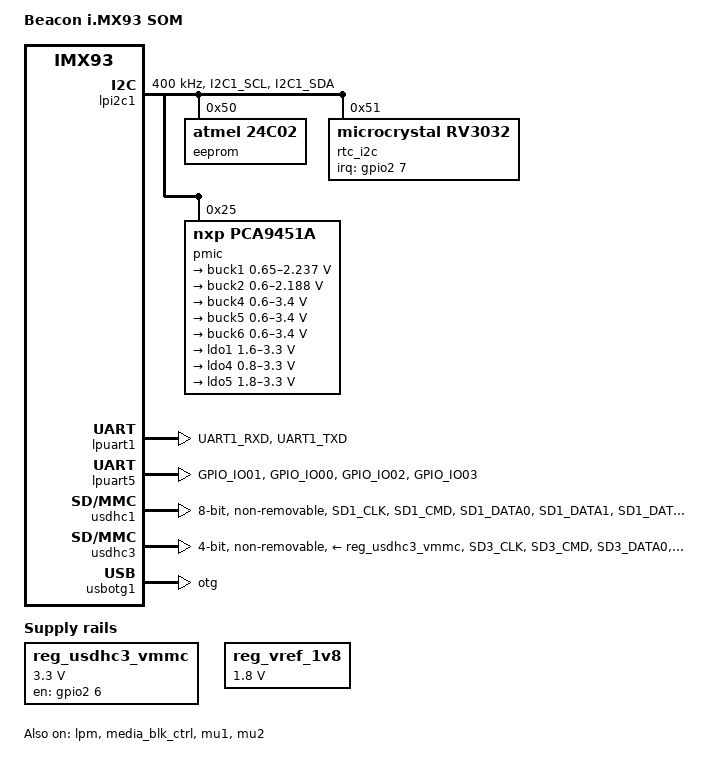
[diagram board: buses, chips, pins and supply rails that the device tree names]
// SPDX-License-Identifier: (GPL-2.0+ OR MIT)
/*
 * Copyright 2022 NXP
 */

 /dts-v1/;

 #include <dt-bindings/usb/pd.h>
 #include "imx93.dtsi"
 
 
 &ele_fw2 {
	 memory-region = <&ele_reserved>;
 };
 
 / {
	 model = "Beacon i.MX93 SOM";
	 compatible = "beacon,imx93-beacon-kit", "fsl,imx93";

	 chosen {
		bootargs = "console=ttyLP0,115200";
		stdout-path = &lpuart1;
	};

	reserved-memory {
		#address-cells = <2>;
		#size-cells = <2>;
		ranges;

		linux,cma {
		   compatible = "shared-dma-pool";
		   reusable;
		   alloc-ranges = <0 0xb0000000 0 0x30000000>;
		   size = <0 0xc000000>;
		   linux,cma-default;
	   };

/* 		 
	   ethosu_mem: ethosu_region@C0000000 {
			compatible = "shared-dma-pool";
			reusable;
			reg = <0x0 0xC0000000 0x0 0x10000000>;
		};
*/

		 vdev0vring0: vdev0vring0@a4000000 {
			reg = <0 0xa4000000 0 0x8000>;
			no-map;
		};

		vdev0vring1: vdev0vring1@a4008000 {
			reg = <0 0xa4008000 0 0x8000>;
			no-map;
		};

		vdev1vring0: vdev1vring0@a4000000 {
			reg = <0 0xa4010000 0 0x8000>;
			no-map;
		};

		vdev1vring1: vdev1vring1@a4018000 {
			reg = <0 0xa4018000 0 0x8000>;
			no-map;
		};

	   rsc_table: rsc-table@2021e000 {
			reg = <0 0x2021e000 0 0x1000>;
			no-map;
		};

		vdevbuffer: vdevbuffer@a4020000 {
			compatible = "shared-dma-pool";
			reg = <0 0xa4020000 0 0x100000>;
			no-map;
		};

		ele_reserved: ele-reserved@a4120000 {
			compatible = "shared-dma-pool";
			reg = <0 0xa4120000 0 0x100000>;
			no-map;
		};
	};
/*
	 usdhc3_pwrseq: usdhc3_pwrseq {
		pinctrl-names = "default";
		pinctrl-0 = <&pinctrl_wifi_rst>;
		compatible = "mmc-pwrseq-simple";
		reset-gpios = <&gpio2 4 GPIO_ACTIVE_HIGH>,		// WL_RST 
					  <&gpio2 5 GPIO_ACTIVE_HIGH>;   	// BT_RST 
	};
*/	

	reg_usdhc3_vmmc: regulator-usdhc3 {
		pinctrl-names = "default";
		pinctrl-0 = <&pinctrl_wifi_reg>;		
		compatible = "regulator-fixed";
		regulator-name = "WL_REG_ON";
		regulator-min-microvolt = <3300000>;
		regulator-max-microvolt = <3300000>;
		gpio = <&gpio2 6 GPIO_ACTIVE_HIGH>; /* WL_REG_ON connects to PDn signal on IW612 */
		/*
		 * IW612 wifi chip needs more delay than other wifi chips to complete
		 * the host interface initialization after power up, otherwise the
		 * internal state of IW612 may be unstable, resulting in the failure of
		 * the SDIO3.0 switch voltage.
		 */
		startup-delay-us = <20000>;
		enable-active-high;
	};

	reg_vref_1v8: regulator-adc-vref {
		compatible = "regulator-fixed";
		regulator-name = "vref_1v8";
		regulator-min-microvolt = <1800000>;
		regulator-max-microvolt = <1800000>;
	};	
 };
	 
 
 &lpm {
	 soc-supply = <&buck1>;
	 status = "okay";
 };
 

 &lpi2c1 {
	#address-cells = <1>;
	#size-cells = <0>;
	clock-frequency = <400000>;
	pinctrl-names = "default", "sleep";
	pinctrl-0 = <&pinctrl_lpi2c1>;
	pinctrl-1 = <&pinctrl_lpi2c1>;
	status = "okay";

	/* eeprom on som */
	eeprom@50 {
		compatible = "atmel,24c02";
		reg = <0x50>;
		pagesize = <16>;		
	};

	rtc_i2c: rtc@51 {
		compatible = "microcrystal,rv3032";
		reg = <0x51>;
		interrupts = <7 IRQ_TYPE_LEVEL_LOW>;
		interrupt-parent = <&gpio2>;
		pinctrl-names = "default";
		pinctrl-0 = <&pinctrl_rtc>;
	};

	pmic@25 {
		compatible = "nxp,pca9451a";
		reg = <0x25>;

		regulators {
			buck1: BUCK1 {
				regulator-name = "BUCK1";
				regulator-min-microvolt = <650000>;
				regulator-max-microvolt = <2237500>;
				regulator-boot-on;
				regulator-always-on;
				regulator-ramp-delay = <3125>;
			};

			buck2: BUCK2 {
				regulator-name = "BUCK2";
				regulator-min-microvolt = <600000>;
				regulator-max-microvolt = <2187500>;
				regulator-boot-on;
				regulator-always-on;
				regulator-ramp-delay = <3125>;
			};

			buck4: BUCK4{
				regulator-name = "BUCK4";
				regulator-min-microvolt = <600000>;
				regulator-max-microvolt = <3400000>;
				regulator-boot-on;
				regulator-always-on;
			};

			buck5: BUCK5{
				regulator-name = "BUCK5";
				regulator-min-microvolt = <600000>;
				regulator-max-microvolt = <3400000>;
				regulator-boot-on;
				regulator-always-on;
			};

			buck6: BUCK6 {
				regulator-name = "BUCK6";
				regulator-min-microvolt = <600000>;
				regulator-max-microvolt = <3400000>;
				regulator-boot-on;
				regulator-always-on;
			};

			ldo1: LDO1 {
				regulator-name = "LDO1";
				regulator-min-microvolt = <1600000>;
				regulator-max-microvolt = <3300000>;
				regulator-boot-on;
				regulator-always-on;
			};

			ldo4: LDO4 {
				regulator-name = "LDO4";
				regulator-min-microvolt = <800000>;
				regulator-max-microvolt = <3300000>;
				regulator-boot-on;
				regulator-always-on;
			};

			ldo5: LDO5 {
				regulator-name = "LDO5";
				regulator-min-microvolt = <1800000>;
				regulator-max-microvolt = <3300000>;
				regulator-boot-on;
				regulator-always-on;
			};
		};
	};
 };
 
 
 &lpuart1 { /* console */
	 pinctrl-names = "default";
	 pinctrl-0 = <&pinctrl_uart1>;
	 status = "okay";
 };

 &lpuart5 { /* bluetooth */
	pinctrl-names = "default";
	assigned-clocks = <&clk IMX93_CLK_LPUART5>;
	assigned-clock-parents = <&clk IMX93_CLK_24M>;
	pinctrl-0 = <&pinctrl_uart5>;
	fsl,uart-has-rtscts;
	status = "okay";
};
 


&media_blk_ctrl {
	 status = "okay";
 };
 &mu1 {
	 status = "okay";
 };
 
 &mu2 {
	 status = "okay";
 };
 
 &usdhc1 {
	 pinctrl-names = "default", "state_100mhz", "state_200mhz";
	 pinctrl-0 = <&pinctrl_usdhc1>;
	 pinctrl-1 = <&pinctrl_usdhc1>;
	 pinctrl-2 = <&pinctrl_usdhc1>;
	 bus-width = <8>;
	 non-removable;
	 status = "okay";
 };

 &usdhc3 {
	pinctrl-names = "default", "state_100mhz", "state_200mhz";
	pinctrl-0 = <&pinctrl_usdhc3>;
	pinctrl-1 = <&pinctrl_usdhc3>;
	pinctrl-2 = <&pinctrl_usdhc3>;
	vmmc-supply = <&reg_usdhc3_vmmc>;
	bus-width = <4>;
	keep-power-in-suspend;
	non-removable;
	wakeup-source;
	no-1-8-v;
	status = "okay";
};
 
&usbotg1 {
	dr_mode = "otg";
	disable-over-current;
	samsung,picophy-pre-emp-curr-control = <3>;
	samsung,picophy-dc-vol-level-adjust = <7>;
	status = "okay";
};

&adc1 {
	vref-supply = <&reg_vref_1v8>;
	status = "disabled";
};

 &iomuxc {
 
	 pinctrl_lpi2c1: lpi2c1grp {
		fsl,pins = <
			MX93_PAD_I2C1_SCL__LPI2C1_SCL			0x40000b9e
			MX93_PAD_I2C1_SDA__LPI2C1_SDA			0x40000b9e
		>;
	 };
 
	 pinctrl_uart1: uart1grp {
		fsl,pins = <
			MX93_PAD_UART1_RXD__LPUART1_RX			0x31e
			MX93_PAD_UART1_TXD__LPUART1_TX			0x31e
		>;
	};

	pinctrl_uart5: uart5grp {
		fsl,pins = <
			MX93_PAD_GPIO_IO01__LPUART5_RX			0x31e
			MX93_PAD_GPIO_IO00__LPUART5_TX			0x31e
			MX93_PAD_GPIO_IO02__LPUART5_CTS_B		0x31e
			MX93_PAD_GPIO_IO03__LPUART5_RTS_B       0x31e
		>;
	};	

	pinctrl_usdhc1: usdhc1grp {
		 fsl,pins = <
			 MX93_PAD_SD1_CLK__USDHC1_CLK			0x159e
			 MX93_PAD_SD1_CMD__USDHC1_CMD			0x139e
			 MX93_PAD_SD1_DATA0__USDHC1_DATA0		0x139e
			 MX93_PAD_SD1_DATA1__USDHC1_DATA1		0x139e
			 MX93_PAD_SD1_DATA2__USDHC1_DATA2		0x139e
			 MX93_PAD_SD1_DATA3__USDHC1_DATA3		0x139e
			 MX93_PAD_SD1_DATA4__USDHC1_DATA4		0x139e
			 MX93_PAD_SD1_DATA5__USDHC1_DATA5		0x139e
			 MX93_PAD_SD1_DATA6__USDHC1_DATA6		0x139e
			 MX93_PAD_SD1_DATA7__USDHC1_DATA7		0x139e
			 MX93_PAD_SD1_STROBE__USDHC1_STROBE		0x159e
		 >;
	 };
  
	pinctrl_usdhc3: usdhc3grp {
		fsl,pins = <
			MX93_PAD_SD3_CLK__USDHC3_CLK			0x15fe
			MX93_PAD_SD3_CMD__USDHC3_CMD			0x13fe
			MX93_PAD_SD3_DATA0__USDHC3_DATA0		0x13fe
			MX93_PAD_SD3_DATA1__USDHC3_DATA1        0x13fe
			MX93_PAD_SD3_DATA2__USDHC3_DATA2        0x13fe
			MX93_PAD_SD3_DATA3__USDHC3_DATA3        0x13fe
		>;
	};
	
	pinctrl_rtc: rtcgrp {
		fsl,pins = <
			MX93_PAD_GPIO_IO07__GPIO2_IO07			0x31e /* RTC_nINT */
		>;
	 };

	pinctrl_wifi_reg: wifireggrp {
		fsl,pins = <
			MX93_PAD_GPIO_IO06__GPIO2_IO06			0x31e /* WL_REG_ON */
		>;
	};

	pinctrl_wifi_rst: wifirstgrp {
		fsl,pins = <
			MX93_PAD_GPIO_IO04__GPIO2_IO04			0x31e /* WL_RST */
			MX93_PAD_GPIO_IO05__GPIO2_IO05			0x31e /* BT_RST */
		>;
	};
 };

 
